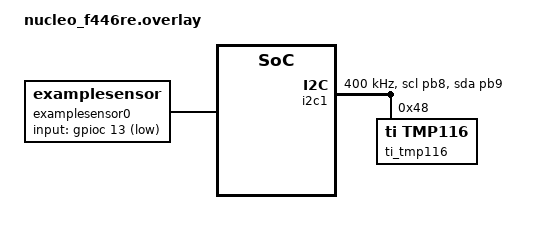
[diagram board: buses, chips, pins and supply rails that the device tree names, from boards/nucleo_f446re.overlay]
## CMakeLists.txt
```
set(BOARD radio_module)
set(BOARD_ROOT ${CMAKE_CURRENT_SOURCE_DIR})

cmake_minimum_required(VERSION 3.13.1)
find_package(Zephyr REQUIRED HINTS $ENV{ZEPHYR_BASE})

project(sensor-module LANGUAGES C)
target_sources(app PRIVATE src/main.c)
```

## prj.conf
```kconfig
CONFIG_NET_L2_ETHERNET=y
CONFIG_SPI=y
CONFIG_CLOCK_CONTROL=y
CONFIG_PINCTRL=y
CONFIG_GPIO=y
CONFIG_SERIAL=y
CONFIG_SOC_SERIES_STM32F4X=y
CONFIG_SOC_STM32F446XX=y
CONFIG_ARM_MPU=y
CONFIG_HW_STACK_PROTECTION=y
CONFIG_PRIVILEGED_STACK_SIZE=1024
CONFIG_CAN=y
CONFIG_CONSOLE=y
CONFIG_UART_CONSOLE=y
CONFIG_I2C=y
CONFIG_PWM=y
CONFIG_SENSOR=y
CONFIG_CBPRINTF_FP_SUPPORT=y
CONFIG_DISK_ACCESS=y
CONFIG_EMUL=y
CONFIG_LOG=y
CONFIG_NETWORKING=y
CONFIG_NET_HOSTNAME_ENABLE=y
CONFIG_NET_IPV4=y
CONFIG_RTIO=y
CONFIG_TEST_RANDOM_GENERATOR=y
CONFIG_FLASH=y
CONFIG_FLASH_MAP=y
CONFIG_FLASH_PAGE_LAYOUT=y
CONFIG_DISK_ACCESS=y
CONFIG_FILE_SYSTEM=y
CONFIG_FILE_SYSTEM_LITTLEFS=y
CONFIG_FS_LITTLEFS_BLK_DEV=y

CONFIG_STDOUT_CONSOLE=y
CONFIG_SENSOR_INIT_PRIORITY=90
CONFIG_EEPROM=y
CONFIG_EEPROM_INIT_PRIORITY=91
CONFIG_EEPROM_TMP116=y


CONFIG_SHELL=y
CONFIG_I2C_SHELL=y
CONFIG_SENSOR_SHELL=y
```

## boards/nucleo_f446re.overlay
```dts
/*
 * Copyright (c) 2021 Nordic Semiconductor ASA
 * SPDX-License-Identifier: Apache-2.0
 */

/* This devicetree overlay file will be automatically picked by the Zephyr
 * build system when building the sample for the nucleo_f302r8 board. It shows
 * how the example-application can be built on sample boards already provided
 * by Zephyr.
 */

/ {
	examplesensor0: examplesensor_0 {
		compatible = "zephyr,examplesensor";
		input-gpios = <&gpioc 13 (GPIO_PULL_UP | GPIO_ACTIVE_LOW)>;
	};
};


&i2c1 {
  	pinctrl-0 = <&i2c1_scl_pb8 &i2c1_sda_pb9>;
    pinctrl-names = "default";
   	status = "okay";
   	clock-frequency = <I2C_BITRATE_FAST>;

    ti_tmp116: ti_tmp116@48 {
		compatible = "ti,tmp116";
		reg = <0x48>;
		#address-cells = <1>;
		#size-cells = <0>;

		eeprom: ti_tmp116_eeprom@0 {
			compatible = "ti,tmp116-eeprom";
			reg = <0x0>;
			read-only;
		};
	};
};

&gpioc {
	status = "okay";
};
```

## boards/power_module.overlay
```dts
&i2c1 {
    status = "okay";
    sda-gpios = <&gpiob 6 GPIO_ACTIVE_LOW>;
    scl-gpios = <&gpiob 7 GPIO_ACTIVE_LOW>;
};
```

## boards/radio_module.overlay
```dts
&i2c1 {
    status = "okay";
    sda-gpios = <&gpiob 6 GPIO_ACTIVE_LOW>;
    scl-gpios = <&gpiob 7 GPIO_ACTIVE_LOW>;
};
```

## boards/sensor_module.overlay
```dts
/* SPDX-License-Identifier: Apache-2.0 */

&i2c3 {
    status = "okay";
    sda-gpios = <&gpioc 9 GPIO_ACTIVE_LOW>;
    scl-gpios = <&gpioa 8 GPIO_ACTIVE_LOW>;
};
```

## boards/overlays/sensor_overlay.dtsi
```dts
/ {
    soc {
        &i2c1 {
          	pinctrl-0 = <&i2c1_scl_pb8 &i2c1_sda_pb9>;
	        pinctrl-names = "default";
        	status = "okay";
        	clock-frequency = <I2C_BITRATE_FAST>;

            tmp116: tmp116@48 {
                compatible = "ti,tmp116";
                reg = <0x48>;
            };
        };
    };
};
```

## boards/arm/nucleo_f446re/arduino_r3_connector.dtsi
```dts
/*
 * Copyright (c) 2019 Linaro Limited
 *
 * SPDX-License-Identifier: Apache-2.0
 */

/ {
	arduino_header: connector {
		compatible = "arduino-header-r3";
		#gpio-cells = <2>;
		gpio-map-mask = <0xffffffff 0xffffffc0>;
		gpio-map-pass-thru = <0 0x3f>;
		gpio-map = <0 0 &gpioa 0 0>,	/* A0 */
			   <1 0 &gpioa 1 0>,	/* A1 */
			   <2 0 &gpioa 4 0>,	/* A2 */
			   <3 0 &gpiob 0 0>,	/* A3 */
			   <4 0 &gpioc 1 0>,	/* A4 */
			   <5 0 &gpioc 0 0>,	/* A5 */
			   <6 0 &gpioa 3 0>,	/* D0 */
			   <7 0 &gpioa 2 0>,	/* D1 */
			   <8 0 &gpioa 10 0>,	/* D2 */
			   <9 0 &gpiob 3 0>,	/* D3 */
			   <10 0 &gpiob 5 0>,	/* D4 */
			   <11 0 &gpiob 4 0>,	/* D5 */
			   <12 0 &gpiob 10 0>,	/* D6 */
			   <13 0 &gpioa 8 0>,	/* D7 */
			   <14 0 &gpioa 9 0>,	/* D8 */
			   <15 0 &gpioc 7 0>,	/* D9 */
			   <16 0 &gpiob 6 0>,	/* D10 */
			   <17 0 &gpioa 7 0>,	/* D11 */
			   <18 0 &gpioa 6 0>,	/* D12 */
			   <19 0 &gpioa 5 0>,	/* D13 */
			   <20 0 &gpiob 9 0>,	/* D14 */
			   <21 0 &gpiob 8 0>;	/* D15 */
	};
};

arduino_serial: &usart1 {}; /* Just throwing a random UART here for compilation */
arduino_i2c: &i2c1 {};
arduino_spi: &spi1 {};
```

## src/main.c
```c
#include <zephyr/kernel.h>
#include <app_version.h>
#include <zephyr/device.h>

#include <zephyr/drivers/sensor.h>
#include <zephyr/drivers/eeprom.h>
#include <zephyr/drivers/sensor/tmp116.h>

#include <zephyr/logging/log.h>

#include <zephyr/net/socket.h>

#include <zephyr/sys/printk.h>
#include <zephyr/sys/__assert.h>

#define SLEEP_TIME_MS   1000

LOG_MODULE_REGISTER(main, CONFIG_APP_LOG_LEVEL);


int main(void) {
	return 0;
}
```

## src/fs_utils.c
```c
#include "fs_utils.h"

#include <zephyr/logging/log.h>

LOG_MODULE_REGISTER(fs_utils, CONFIG_APP_LOG_LEVEL);

int init_fs(struct fs_mount_t *mount_point) {
    int ret = fs_wipe((uintptr_t) mount_point->storage_dev);
	if (ret < 0) {
		return ret;
	}

	/* Do not mount if auto-mount has been enabled */
#if !DT_NODE_EXISTS(PARTITION_NODE) || !(FSTAB_ENTRY_DT_MOUNT_FLAGS(PARTITION_NODE) & FS_MOUNT_FLAG_AUTOMOUNT)
    
	ret = fs_mount(mount_point);
	
    if (ret < 0) {
		LOG_PRINTK("FAIL: mount id %" PRIuPTR " at %s: %d\n", (uintptr_t) mount_point->storage_dev, mount_point->mnt_point, ret);
		return ret;
	}

	LOG_PRINTK("%s mount: %d\n", mount_point->mnt_point, ret);
#else
	LOG_PRINTK("%s automounted\n", mount_point->mnt_point);
#endif


    return 0;
}


int fs_wipe(uint32_t id) {
	const struct flash_area *pfa;
	int ret = flash_area_open(id, &pfa);

	if (ret < 0) {
		LOG_ERR("FAIL: unable to find flash area %u: %d\n", id, ret);
		return ret;
	}

	LOG_PRINTK("Area %u at 0x%x on %s for %u bytes\n",
		   id, (unsigned int)pfa->fa_off, pfa->fa_dev->name,
		   (unsigned int)pfa->fa_size);

	/* Optional wipe flash contents */
	if (IS_ENABLED(CONFIG_APP_WIPE_STORAGE)) {
		ret = flash_area_erase(pfa, 0, pfa->fa_size);
		LOG_ERR("Erasing flash area ... %d", ret);
	}

	flash_area_close(pfa);
	return ret;
}


int fs_list(const char * path) {

    return 0;
}
```

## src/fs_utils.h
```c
/*
 * Copyright (c) 2023 Aaron Chan
 *
 * SPDX-License-Identifier: Apache-2.0
 */

#ifndef FS_UTILS_H_
#define FS_UTILS_H_

#include <zephyr/fs/fs.h>
#include <zephyr/fs/littlefs.h>

int init_fs(struct fs_mount_t *mount_point);

int fs_wipe(uint32_t id);

int list_fs(const char * path);

#endif // FS_UTILS_H_
```

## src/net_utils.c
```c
/*
 * Copyright (c) 2023 Aaron Chan
 *
 * SPDX-License-Identifier: Apache-2.0
 */

#include "net_utils.h"

#include <zephyr/kernel.h>
#include <zephyr/net/socket.h>
#include <zephyr/net/ethernet.h>
#include <zephyr/net/net_event.h>

#include <zephyr/logging/log.h>

LOG_MODULE_REGISTER(net_utils, CONFIG_APP_LOG_LEVEL);

static struct net_if *net_interface;

int init_eth_iface(void) {
    const struct device *const wiznet = DEVICE_DT_GET_ONE(wiznet_w5500);
    if (!device_is_ready(wiznet)) {
        LOG_INF("Device %s is not ready.\n", wiznet->name);
        return -ENODEV;
    } 
    
    LOG_INF("Device %s is ready.\n", wiznet->name);
    return 0;
}

int init_net_stack(void) {
    static const char ip_addr[] = "10.10.10.10";
    int ret;

    net_interface = net_if_get_default();
    if (!net_interface) {
        LOG_INF("No network interface found\n");
        return -ENODEV;
    }

    struct in_addr addr;
    ret = net_addr_pton(AF_INET, ip_addr, &addr);
    if (ret < 0) {
        LOG_INF("Invalid IP address\n");
        return ret;
    }

    struct net_if_addr *ifaddr = net_if_ipv4_addr_add(net_interface, &addr, NET_ADDR_MANUAL, 0);
    if (!ifaddr) {
        LOG_INF("Failed to add IP address\n");
        return -ENODEV;
    }

    LOG_INF("IPv4 address configured: %s\n", ip_addr);

    return 0;
}

int send_udp_broadcast(const uint8_t *data, size_t data_len, uint16_t port) {
    int sock;
    int ret;

    sock = socket(AF_INET, SOCK_DGRAM, IPPROTO_UDP);
    if (sock < 0) {
        LOG_INF("Failed to create socket (%d)\n", sock);
        return sock;
    }

    struct sockaddr_in dst_addr;
    dst_addr.sin_family = AF_INET;
    dst_addr.sin_port = htons(port);
    ret = net_addr_pton(AF_INET, "255.255.255.255", &dst_addr.sin_addr);
    if (ret < 0) {
        LOG_INF("Invalid IP address format\n");
        close(sock);
        return ret;
    }

    ret = sendto(sock, data, data_len, 0, (struct sockaddr *) &dst_addr, sizeof(dst_addr));
    if (ret < 0) {
        LOG_INF("Failed to send UDP broadcast (%d)\n", ret);
        close(sock);
        return ret;
    }

    LOG_INF("Sent UDP broadcast: %s\n", data);

    close(sock);
    return 0;
}
```

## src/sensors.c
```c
#include <zephyr/drivers/sensor.h>
#include <zephyr/zephyr.h>
#include <zephyr/logging/log.h>
#include "sensors.h"


LOG_MODULE_REGISTER(sensors_util, CONFIG_APP_LOG_LEVEL);

static SENSOR_MODULE_DATA_T readings = {0};


static int check_dev(const struct device *device) {
    int ret = device_is_ready(device);

    if (ret) printk("Error %d: %s is not ready\n", ret, device->name);

    return ret;
}
```

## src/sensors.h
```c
#ifndef SENSORS_H_
#define SENSORS_H_


typedef struct {
    float pressure_ms5;
    float temperature_ms5;

    float pressure_bmp3;
    float temperature_bmp3;

    float accel_x;
    float accel_y;
    float accel_z;
   
    float magn_x;
    float magn_y;
    float magn_z;

    float gyro_x;
    float gyro_y;
    float gyro_z;

    float temperature_tmp;
} SENSOR_MODULE_DATA_T;



#endif // !SENSORS_H_
```
